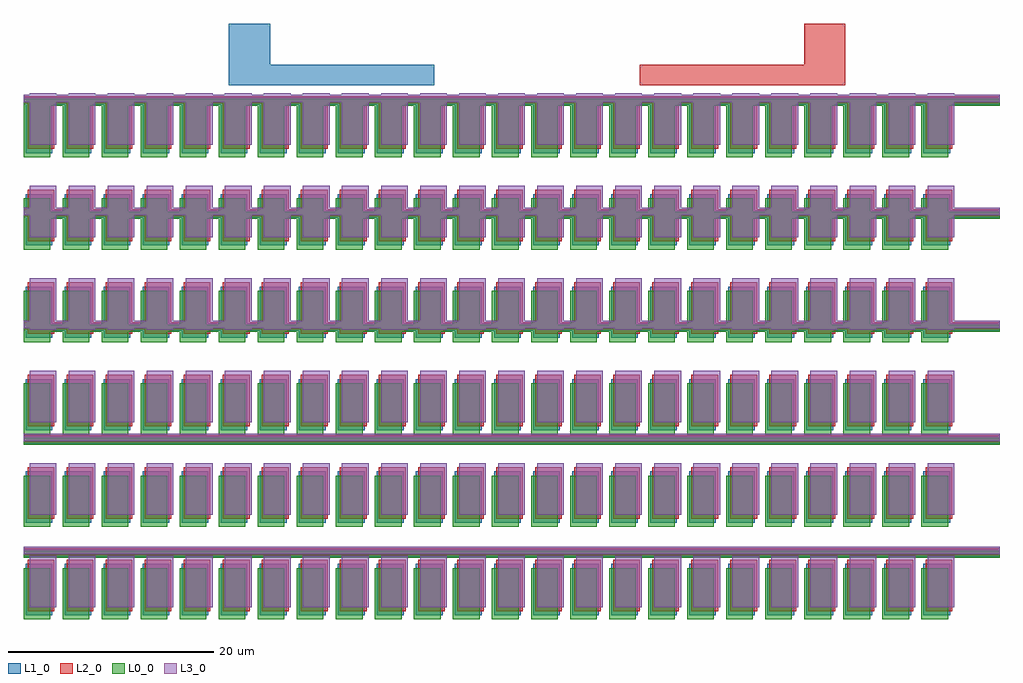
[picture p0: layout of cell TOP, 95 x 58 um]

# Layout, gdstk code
import gdstk
lib = gdstk.Library(unit=1e-6, precision=1e-09)
def R(c, l, rs):  # rectangles x0, y0, x1, y1
    for r in rs: c.add(gdstk.rectangle(r[:2], r[2:], *l))
def A(c, l, x, y, w, h, nx, ny, dx, dy):  # array of equal rectangles
    R(c, l, [(x+i*dx, y+j*dy, x+i*dx+w, y+j*dy+h) for i in range(nx) for j in range(ny)])
def P(c, l, *ps):  # polygons
    for p in ps: c.add(gdstk.Polygon(p, *l))
L0_0 = (0, 0)
L1_0 = (1, 0)
L2_0 = (2, 0)
L3_0 = (3, 0)

top = lib.new_cell('TOP')
A(top, L0_0, 0, 0, 2.6, 5, 24, 6, 3.8, 9)
A(top, L0_0, 0, 6, 95, 0.7, 1, 5, 0, 11)
A(top, L1_0, 0.2, 0.4, 2.6, 5, 24, 6, 3.8, 9)
A(top, L1_0, 0, 6.12, 95, 0.7, 1, 5, 0, 11)
P(top, L1_0, [(20,52),(40,52),(40,54),(24,54),(24,58),(20,58)])
A(top, L2_0, 0.4, 0.8, 2.6, 5, 24, 6, 3.8, 9)
A(top, L2_0, 0, 6.24, 95, 0.7, 1, 5, 0, 11)
P(top, L2_0, [(60,52),(80,52),(80,58),(76,58),(76,54),(60,54)])
A(top, L3_0, 0.6, 1.2, 2.6, 5, 24, 6, 3.8, 9)
A(top, L3_0, 0, 6.36, 95, 0.7, 1, 5, 0, 11)

lib.write_gds('TOP.gds')
